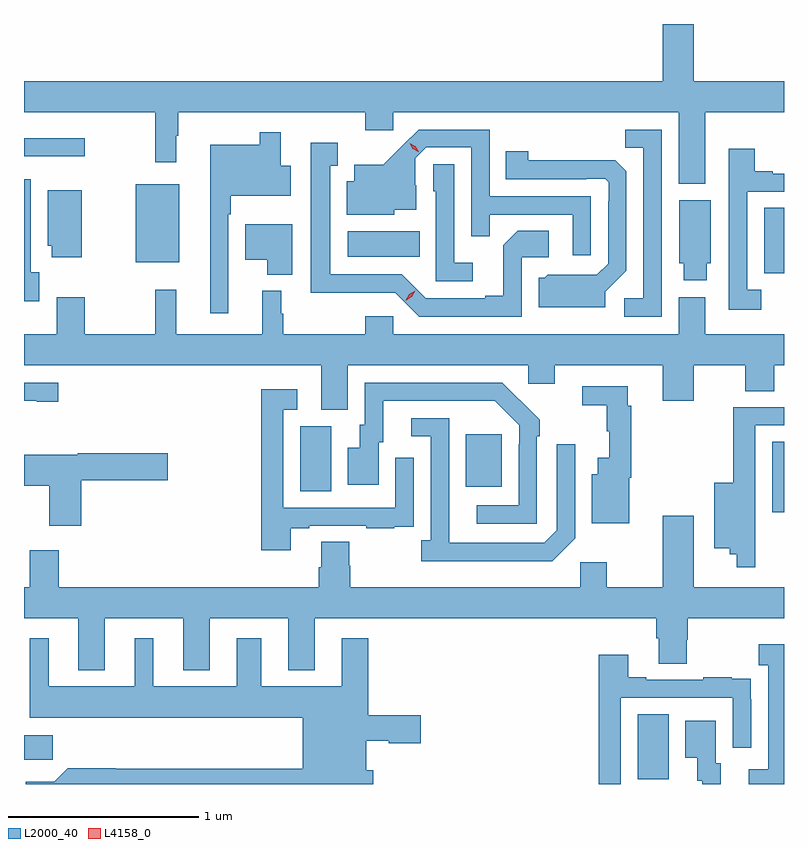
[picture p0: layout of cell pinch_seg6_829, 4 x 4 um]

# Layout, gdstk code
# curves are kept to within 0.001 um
import gdstk
lib = gdstk.Library(unit=1e-6, precision=1e-09)
def R(c, l, rs):  # rectangles x0, y0, x1, y1
    for r in rs: c.add(gdstk.rectangle(r[:2], r[2:], *l))
def P(c, l, *ps):  # polygons
    for p in ps: c.add(gdstk.Polygon(p, *l))
L2000_40 = (2000, 40)
L4158_0 = (4158, 0)

pinch_seg6_829 = lib.new_cell('pinch_seg6_829')
R(pinch_seg6_829, L2000_40, [(140.9,987.781,141.064,988.124), (137.671,987.883,137.821,988.012), (141.608,989.187,141.671,989.557), (139.124,989.296,139.288,989.64), (139.997,989.321,140.185,989.596), (141.566,990.445,141.671,990.788), (138.26,990.503,138.487,990.913), (139.374,990.53,139.754,990.664), (137.671,991.059,137.992,991.156)])
P(pinch_seg6_829, L2000_40, [(141.196,991.756),(141.032,991.756),(141.032,991.456),(137.671,991.456),(137.671,991.292),(138.363,991.292),(138.363,991.029),(138.472,991.029),(138.472,991.169),(138.484,991.169),(138.484,991.292),(139.468,991.292),(139.468,991.197),(139.614,991.197),(139.614,991.292),(141.116,991.292),(141.116,990.914),(141.256,990.914),(141.256,991.292),(141.671,991.292),(141.671,991.456),(141.196,991.456)],
  [(141.027,991.2),(140.836,991.2),(140.836,991.105),(140.931,991.105),(140.931,990.312),(140.829,990.312),(140.829,990.216),(141.027,990.216)],
  [(140.655,990.849),(140.121,990.849),(140.121,991.2),(139.748,991.2),(139.561,991.015),(139.409,991.015),(139.409,990.928),(139.37,990.928),(139.37,990.752),(139.62,990.752),(139.62,990.779),(139.735,990.779),(139.735,990.908),(139.731,990.908),(139.731,991.05),(139.788,991.107),(140.025,991.107),(140.025,990.64),(140.123,990.64),(140.123,990.753),(140.559,990.753),(140.559,990.54),(140.655,990.54)],
  [(138.747,990.755),(138.76,990.755),(138.76,990.851),(139.075,990.851),(139.075,991.009),(139.021,991.009),(139.021,991.186),(138.912,991.186),(138.912,991.12),(138.65,991.12),(138.65,990.234),(138.747,990.234)],
  [(140.292,990.528),(140.434,990.528),(140.434,990.668),(140.269,990.668),(140.193,990.592),(140.193,990.325),(140.099,990.325),(140.099,990.312),(139.785,990.312),(139.659,990.438),(139.282,990.438),(139.282,991.011),(139.321,991.011),(139.321,991.132),(139.181,991.132),(139.181,990.341),(139.626,990.342),(139.752,990.216),(140.292,990.216)],
  [(141.55,990.357),(141.477,990.357),(141.477,990.873),(141.671,990.873),(141.671,990.969),(141.613,990.969),(141.613,990.982),(141.517,990.982),(141.517,991.099),(141.381,991.099),(141.381,990.252),(141.55,990.252)],
  [(140.731,990.348),(140.841,990.458),(140.841,990.98),(140.782,991.039),(140.325,991.04),(140.325,991.087),(140.206,991.087),(140.206,990.939),(140.63,990.939),(140.63,990.942),(140.73,990.942),(140.748,990.924),(140.748,990.824),(140.745,990.824),(140.745,990.495),(140.685,990.435),(140.428,990.436),(140.412,990.42),(140.381,990.42),(140.381,990.266),(140.731,990.266)],
  [(140.032,990.499),(139.935,990.499),(139.935,991.019),(139.824,991.019),(139.824,990.876),(139.839,990.876),(139.839,990.402),(140.032,990.402)],
  [(137.752,990.45),(137.707,990.45),(137.707,990.94),(137.671,990.94),(137.671,990.296),(137.752,990.296)],
  [(137.974,990.88),(137.795,990.88),(137.795,990.588),(137.816,990.588),(137.816,990.528),(137.974,990.528)],
  [(141.265,990.498),(141.286,990.498),(141.286,990.829),(141.119,990.829),(141.119,990.498),(141.143,990.498),(141.143,990.407),(141.265,990.407)],
  [(139.084,990.703),(138.836,990.703),(138.836,990.515),(138.95,990.515),(138.95,990.437),(139.084,990.437)],
  [(139.375,989.96),(140.325,989.96),(140.325,989.862),(140.464,989.862),(140.464,989.96),(141.032,989.96),(141.032,989.772),(141.196,989.772),(141.196,989.96),(141.467,989.96),(141.467,989.824),(141.62,989.824),(141.62,989.96),(141.671,989.96),(141.671,990.124),(141.256,990.124),(141.256,990.319),(141.116,990.319),(141.116,990.124),(139.614,990.124),(139.614,990.217),(139.468,990.217),(139.468,990.124),(139.036,990.124),(139.036,990.231),(139.024,990.231),(139.024,990.352),(138.926,990.352),(138.926,990.124),(138.473,990.124),(138.473,990.358),(138.363,990.358),(138.363,990.124),(137.991,990.124),(137.991,990.319),(137.843,990.319),(137.843,990.124),(137.671,990.124),(137.671,989.96),(139.235,989.96),(139.235,989.725),(139.375,989.725)],
  [(140.37,989.585),(140.385,989.585),(140.385,989.673),(140.188,989.868),(139.464,989.868),(139.464,989.646),(139.439,989.646),(139.439,989.527),(139.376,989.527),(139.376,989.331),(139.537,989.331),(139.537,989.556),(139.561,989.556),(139.561,989.772),(140.149,989.772),(140.277,989.643),(140.277,989.543),(140.274,989.543),(140.274,989.223),(140.055,989.223),(140.055,989.127),(140.37,989.127)],
  [(137.851,989.868),(137.671,989.868),(137.671,989.772),(137.738,989.772),(137.738,989.767),(137.851,989.767)],
  [(140.856,989.369),(140.867,989.369),(140.867,989.747),(140.849,989.747),(140.849,989.85),(140.61,989.85),(140.61,989.749),(140.739,989.749),(140.739,989.613),(140.75,989.613),(140.75,989.473),(140.69,989.473),(140.69,989.386),(140.66,989.386),(140.66,989.129),(140.856,989.129)],
  [(139.075,989.103),(139.171,989.103),(139.171,989.115),(139.471,989.115),(139.471,989.103),(139.619,989.103),(139.619,989.109),(139.721,989.109),(139.721,989.218),(139.722,989.218),(139.722,989.473),(139.626,989.473),(139.626,989.211),(139.035,989.211),(139.035,989.727),(139.108,989.727),(139.108,989.833),(138.919,989.833),(138.919,988.986),(139.075,988.986)],
  [(141.519,989.643),(141.671,989.643),(141.671,989.739),(141.403,989.739),(141.403,989.341),(141.305,989.341),(141.305,988.997),(141.386,988.997),(141.386,988.964),(141.421,988.964),(141.421,988.896),(141.519,988.896)],
  [(140.571,989.049),(140.571,989.545),(140.475,989.545),(140.475,989.091),(140.409,989.025),(139.909,989.025),(139.908,989.682),(139.71,989.682),(139.71,989.586),(139.812,989.586),(139.812,989.038),(139.761,989.038),(139.761,988.928),(140.45,988.928)],
  [(137.972,989.354),(138.427,989.354),(138.427,989.496),(137.955,989.496),(137.955,989.488),(137.671,989.488),(137.671,989.326),(137.804,989.326),(137.804,989.115),(137.972,989.115)],
  [(138.097,988.628),(138.509,988.628),(138.509,988.355),(138.649,988.355),(138.649,988.628),(139.061,988.628),(139.061,988.355),(139.201,988.355),(139.201,988.628),(140.999,988.628),(140.999,988.522),(141.011,988.522),(141.011,988.39),(141.159,988.39),(141.159,988.515),(141.164,988.515),(141.164,988.628),(141.671,988.628),(141.671,988.792),(141.196,988.792),(141.196,989.167),(141.032,989.167),(141.032,988.792),(140.737,988.792),(140.737,988.924),(140.598,988.924),(140.598,988.792),(139.388,988.792),(139.388,988.905),(139.383,988.905),(139.383,989.03),(139.235,989.03),(139.235,988.898),(139.223,988.898),(139.223,988.792),(137.855,988.792),(137.855,988.987),(137.702,988.987),(137.702,988.792),(137.671,988.792),(137.671,988.628),(137.957,988.628),(137.957,988.355),(138.097,988.355)],
  [(139.508,987.828),(139.471,987.828),(139.471,987.983),(139.591,987.983),(139.591,987.971),(139.759,987.971),(139.759,988.118),(139.484,988.118),(139.484,988.522),(139.343,988.522),(139.343,988.27),(138.919,988.27),(138.919,988.522),(138.791,988.522),(138.791,988.27),(138.352,988.27),(138.352,988.522),(138.254,988.522),(138.254,988.27),(137.8,988.27),(137.8,988.522),(137.702,988.522),(137.702,988.106),(139.139,988.106),(139.139,987.836),(138.155,987.836),(138.155,987.839),(137.9,987.839),(137.83,987.769),(137.681,987.769),(137.681,987.756),(139.508,987.756)],
  [(141.671,988.492),(141.537,988.492),(141.537,988.382),(141.588,988.382),(141.588,987.834),(141.486,987.834),(141.486,987.756),(141.671,987.756)],
  [(140.811,988.209),(141.402,988.209),(141.402,987.948),(141.498,987.948),(141.498,988.202),(141.497,988.202),(141.497,988.311),(141.395,988.311),(141.395,988.318),(141.247,988.318),(141.247,988.305),(140.947,988.305),(140.947,988.318),(140.851,988.318),(140.851,988.435),(140.695,988.435),(140.695,987.756),(140.811,987.756)],
  [(141.337,987.864),(141.313,987.864),(141.313,988.09),(141.152,988.09),(141.152,987.893),(141.215,987.893),(141.215,987.774),(141.24,987.774),(141.24,987.756),(141.337,987.756)])
P(pinch_seg6_829, L4158_0, [(139.747,991.083),(139.717,991.099),(139.7,991.128),(139.7,991.129),(139.7,991.129),(139.731,991.113),(139.748,991.084),(139.748,991.083)],
  [(139.681,990.301),(139.681,990.301),(139.699,990.334),(139.73,990.353),(139.731,990.353),(139.731,990.352),(139.713,990.32),(139.682,990.301)])

lib.write_gds('pinch_seg6_829.gds')
